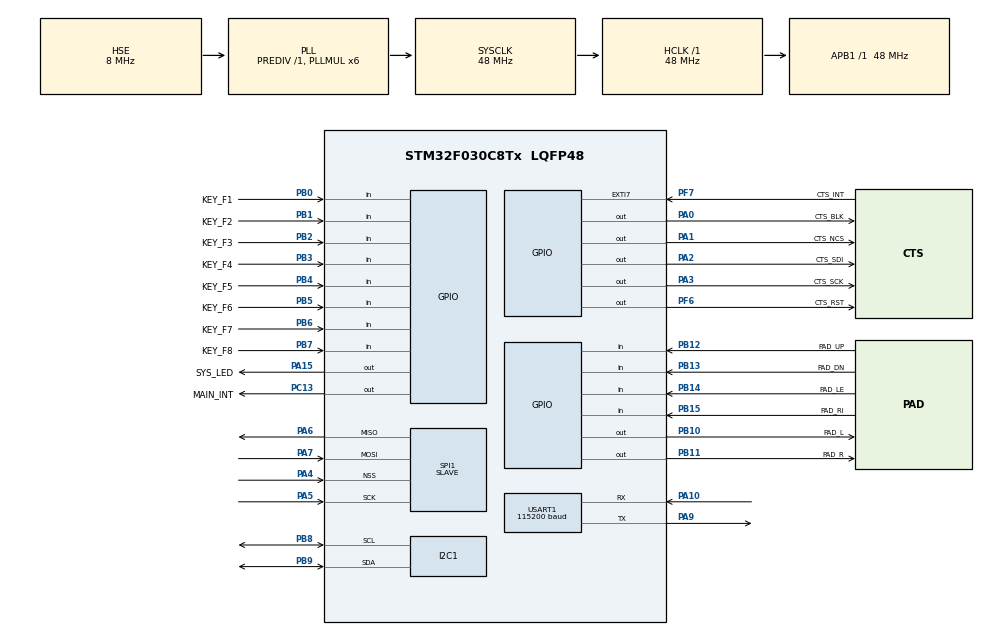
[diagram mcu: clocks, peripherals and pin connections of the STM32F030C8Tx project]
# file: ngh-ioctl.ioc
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I2C1.Timing=0x20303E5D
Mcu.Family=STM32F0
Mcu.Name=STM32F030C8Tx
Mcu.Package=LQFP48
NVIC.SPI1_IRQn=true\:1\:0\:true\:false\:true\:true
NVIC.TIM6_IRQn=true\:0\:0\:false\:false\:true\:true
PA0.GPIO_Label=CTS_BLK
PA0.GPIO_Speed=GPIO_SPEED_FREQ_HIGH
PA0.PinState=GPIO_PIN_SET
PA0.Signal=GPIO_Output
PA1.GPIO_Label=CTS_NCS
PA1.GPIO_Speed=GPIO_SPEED_FREQ_HIGH
PA1.PinState=GPIO_PIN_SET
PA1.Signal=GPIO_Output
PA10.Mode=Multiprocessor_communication
PA10.Signal=USART1_RX
PA13.Mode=Serial_Wire
PA13.Signal=SYS_SWDIO
PA14.Mode=Serial_Wire
PA14.Signal=SYS_SWCLK
PA15.GPIO_Label=SYS_LED
PA15.GPIO_Speed=GPIO_SPEED_FREQ_HIGH
PA15.Signal=GPIO_Output
PA2.GPIO_Label=CTS_SDI
PA2.GPIO_ModeDefaultOutputPP=GPIO_MODE_OUTPUT_PP
PA2.GPIO_PuPd=GPIO_NOPULL
PA2.GPIO_Speed=GPIO_SPEED_FREQ_HIGH
PA2.PinState=GPIO_PIN_SET
PA2.Signal=GPIO_Output
PA3.GPIO_Label=CTS_SCK
PA3.GPIO_PuPd=GPIO_NOPULL
PA3.GPIO_Speed=GPIO_SPEED_FREQ_HIGH
PA3.PinState=GPIO_PIN_SET
PA3.Signal=GPIO_Output
PA4.Mode=NSS_Signal_Hard_Input
PA4.Signal=SPI1_NSS
PA5.Mode=Full_Duplex_Slave
PA5.Signal=SPI1_SCK
PA6.Mode=Full_Duplex_Slave
PA6.Signal=SPI1_MISO
PA7.Mode=Full_Duplex_Slave
PA7.Signal=SPI1_MOSI
PA9.Mode=Multiprocessor_communication
PA9.Signal=USART1_TX
PB0.GPIO_Label=KEY_F1
PB0.GPIO_PuPd=GPIO_PULLUP
PB0.Signal=GPIO_Input
PB1.GPIO_Label=KEY_F2
PB1.GPIO_PuPd=GPIO_PULLUP
PB1.Signal=GPIO_Input
PB10.GPIO_Label=PAD_L
PB10.GPIO_Speed=GPIO_SPEED_FREQ_HIGH
PB10.PinState=GPIO_PIN_SET
PB10.Signal=GPIO_Output
PB11.GPIO_Label=PAD_R
PB11.GPIO_Speed=GPIO_SPEED_FREQ_HIGH
PB11.PinState=GPIO_PIN_SET
PB11.Signal=GPIO_Output
PB12.GPIO_Label=PAD_UP
PB12.GPIO_PuPd=GPIO_PULLUP
PB12.Signal=GPIO_Input
PB13.GPIO_Label=PAD_DN
PB13.GPIO_PuPd=GPIO_PULLUP
PB13.Signal=GPIO_Input
PB14.GPIO_Label=PAD_LE
PB14.GPIO_PuPd=GPIO_PULLUP
PB14.Signal=GPIO_Input
PB15.GPIO_Label=PAD_RI
PB15.GPIO_PuPd=GPIO_PULLUP
PB15.Signal=GPIO_Input
PB2.GPIO_Label=KEY_F3
PB2.GPIO_PuPd=GPIO_PULLUP
PB2.Signal=GPIO_Input
PB3.GPIO_Label=KEY_F4
PB3.GPIO_PuPd=GPIO_PULLUP
PB3.Signal=GPIO_Input
PB4.GPIO_Label=KEY_F5
PB4.GPIO_PuPd=GPIO_PULLUP
PB4.Signal=GPIO_Input
PB5.GPIO_Label=KEY_F6
PB5.GPIO_PuPd=GPIO_PULLUP
PB5.Signal=GPIO_Input
PB6.GPIO_Label=KEY_F7
PB6.GPIO_PuPd=GPIO_PULLUP
PB6.Signal=GPIO_Input
PB7.GPIO_Label=KEY_F8
PB7.GPIO_PuPd=GPIO_PULLUP
PB7.Signal=GPIO_Input
PB8.Mode=I2C
PB8.Signal=I2C1_SCL
PB9.Mode=I2C
PB9.Signal=I2C1_SDA
PC13.GPIO_Label=MAIN_INT
PC13.GPIO_Speed=GPIO_SPEED_FREQ_LOW
PC13.PinState=GPIO_PIN_SET
PC13.Signal=GPIO_Output
PF0-OSC_IN.Mode=HSE-External-Oscillator
PF0-OSC_IN.Signal=RCC_OSC_IN
PF1-OSC_OUT.Mode=HSE-External-Oscillator
PF1-OSC_OUT.Signal=RCC_OSC_OUT
PF6.GPIO_Label=CTS_RST
PF6.GPIO_Speed=GPIO_SPEED_FREQ_HIGH
PF6.PinState=GPIO_PIN_SET
PF6.Signal=GPIO_Output
PF7.GPIO_Label=CTS_INT
PF7.GPIO_PuPd=GPIO_PULLUP
PF7.Signal=GPXTI7
ProjectManager.HeapSize=0x200
ProjectManager.StackSize=0x400
ProjectManager.TargetToolchain=SW4STM32
RCC.AHBFreq_Value=48000000
RCC.APB1Freq_Value=48000000
RCC.APB1TimFreq_Value=48000000
RCC.HCLKFreq_Value=48000000
RCC.I2c1ClockSelection=RCC_I2C1CLKSOURCE_SYSCLK
RCC.PLLMUL=RCC_PLL_MUL6
RCC.PLLSourceVirtual=RCC_PLLSOURCE_HSE
RCC.SYSCLKFreq_VALUE=48000000
RCC.SYSCLKSource=RCC_SYSCLKSOURCE_PLLCLK
SPI1.DataSize=SPI_DATASIZE_8BIT
SPI1.Direction=SPI_DIRECTION_2LINES
SPI1.Mode=SPI_MODE_SLAVE
SPI1.VirtualNSS=VM_NSSHARD
SPI1.VirtualType=VM_SLAVE
TIM6.Period=99
TIM6.Prescaler=48
USART1.BaudRate=115200
USART1.VirtualMode-Multiprocessor_communication=VM_ASYNC
VP_TIM6_VS_ClockSourceINT.Mode=Enable_Timer
board=custom

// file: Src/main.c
/* USER CODE BEGIN Header */
/**
  ******************************************************************************
  * @file           : main.c
  * @brief          : Main program body
  ******************************************************************************
  ** This notice applies to any and all portions of this file
  * that are not between comment pairs USER CODE BEGIN and
  * USER CODE END. Other portions of this file, whether
  * inserted by the user or by software development tools
  * are owned by their respective copyright owners.
  *
  * COPYRIGHT(c) 2018 STMicroelectronics
  *
  * Redistribution and use in source and binary forms, with or without modification,
  * are permitted provided that the following conditions are met:
  *   1. Redistributions of source code must retain the above copyright notice,
  *      this list of conditions and the following disclaimer.
  *   2. Redistributions in binary form must reproduce the above copyright notice,
  *      this list of conditions and the following disclaimer in the documentation
  *      and/or other materials provided with the distribution.
  *   3. Neither the name of STMicroelectronics nor the names of its contributors
  *      may be used to endorse or promote products derived from this software
  *      without specific prior written permission.
  *
  * THIS SOFTWARE IS PROVIDED BY THE COPYRIGHT HOLDERS AND CONTRIBUTORS "AS IS"
  * AND ANY EXPRESS OR IMPLIED WARRANTIES, INCLUDING, BUT NOT LIMITED TO, THE
  * IMPLIED WARRANTIES OF MERCHANTABILITY AND FITNESS FOR A PARTICULAR PURPOSE ARE
  * DISCLAIMED. IN NO EVENT SHALL THE COPYRIGHT HOLDER OR CONTRIBUTORS BE LIABLE
  * FOR ANY DIRECT, INDIRECT, INCIDENTAL, SPECIAL, EXEMPLARY, OR CONSEQUENTIAL
  * DAMAGES (INCLUDING, BUT NOT LIMITED TO, PROCUREMENT OF SUBSTITUTE GOODS OR
  * SERVICES; LOSS OF USE, DATA, OR PROFITS; OR BUSINESS INTERRUPTION) HOWEVER
  * CAUSED AND ON ANY THEORY OF LIABILITY, WHETHER IN CONTRACT, STRICT LIABILITY,
  * OR TORT (INCLUDING NEGLIGENCE OR OTHERWISE) ARISING IN ANY WAY OUT OF THE USE
  * OF THIS SOFTWARE, EVEN IF ADVISED OF THE POSSIBILITY OF SUCH DAMAGE.
  *
  ******************************************************************************
  */
/* USER CODE END Header */

#include "main.h"

/* USER CODE BEGIN Includes */
#include "lcd.h"
/* USER CODE END Includes */

I2C_HandleTypeDef hi2c1;

SPI_HandleTypeDef hspi1;

TIM_HandleTypeDef htim6;

UART_HandleTypeDef huart1;

void SystemClock_Config(void);
static void MX_GPIO_Init(void);
static void MX_TIM6_Init(void);
static void MX_I2C1_Init(void);
static void MX_SPI1_Init(void);
static void MX_USART1_UART_Init(void);

/* USER CODE BEGIN 0 */
volatile uint32_t _cnt = 0, _max = 5000;
void TIM6_IRQ_Callback() {
	if (_cnt < _max) _cnt += 1;
	else {
		_cnt = 0;
		HAL_GPIO_TogglePin(SYS_LED_GPIO_Port, SYS_LED_Pin);
	}
}
/* USER CODE END 0 */

int main(void)
{

  /* MCU Configuration--------------------------------------------------------*/

  /* Reset of all peripherals, Initializes the Flash interface and the Systick. */
  HAL_Init();

  /* Configure the system clock */
  SystemClock_Config();

  /* Initialize all configured peripherals */
  MX_GPIO_Init();
  MX_TIM6_Init();
  MX_I2C1_Init();
  MX_SPI1_Init();
  MX_USART1_UART_Init();
  /* USER CODE BEGIN 2 */
  HAL_TIM_Base_Start_IT(&htim6);
  HAL_GPIO_WritePin(CTS_BLK_GPIO_Port, CTS_BLK_Pin, GPIO_PIN_SET);
  HAL_Delay(50);
  HAL_GPIO_WritePin(CTS_BLK_GPIO_Port, CTS_BLK_Pin, GPIO_PIN_RESET);
  HAL_Delay(50);
  HAL_GPIO_WritePin(CTS_BLK_GPIO_Port, CTS_BLK_Pin, GPIO_PIN_SET);
  HAL_Delay(500);
  LCDInit();
  HAL_Delay(50);
  /* USER CODE END 2 */

  /* Infinite loop */
  while (1)
  {

  }
}

void SystemClock_Config(void)
{
  RCC_OscInitTypeDef RCC_OscInitStruct = {0};
  RCC_ClkInitTypeDef RCC_ClkInitStruct = {0};
  RCC_PeriphCLKInitTypeDef PeriphClkInit = {0};

  /**Initializes the CPU, AHB and APB busses clocks
  */
  RCC_OscInitStruct.OscillatorType = RCC_OSCILLATORTYPE_HSE;
  RCC_OscInitStruct.HSEState = RCC_HSE_ON;
  RCC_OscInitStruct.PLL.PLLState = RCC_PLL_ON;
  RCC_OscInitStruct.PLL.PLLSource = RCC_PLLSOURCE_HSE;
  RCC_OscInitStruct.PLL.PLLMUL = RCC_PLL_MUL6;
  RCC_OscInitStruct.PLL.PREDIV = RCC_PREDIV_DIV1;
  if (HAL_RCC_OscConfig(&RCC_OscInitStruct) != HAL_OK)
  {
    Error_Handler();
  }
  /**Initializes the CPU, AHB and APB busses clocks
  */
  RCC_ClkInitStruct.ClockType = RCC_CLOCKTYPE_HCLK|RCC_CLOCKTYPE_SYSCLK
                              |RCC_CLOCKTYPE_PCLK1;
  RCC_ClkInitStruct.SYSCLKSource = RCC_SYSCLKSOURCE_PLLCLK;
  RCC_ClkInitStruct.AHBCLKDivider = RCC_SYSCLK_DIV1;
  RCC_ClkInitStruct.APB1CLKDivider = RCC_HCLK_DIV1;

  if (HAL_RCC_ClockConfig(&RCC_ClkInitStruct, FLASH_LATENCY_1) != HAL_OK)
  {
    Error_Handler();
  }
  PeriphClkInit.PeriphClockSelection = RCC_PERIPHCLK_USART1|RCC_PERIPHCLK_I2C1;
  PeriphClkInit.Usart1ClockSelection = RCC_USART1CLKSOURCE_PCLK1;
  PeriphClkInit.I2c1ClockSelection = RCC_I2C1CLKSOURCE_SYSCLK;
  if (HAL_RCCEx_PeriphCLKConfig(&PeriphClkInit) != HAL_OK)
  {
    Error_Handler();
  }
}

static void MX_I2C1_Init(void)
{

  hi2c1.Instance = I2C1;
  hi2c1.Init.Timing = 0x20303E5D;
  hi2c1.Init.OwnAddress1 = 0;
  hi2c1.Init.AddressingMode = I2C_ADDRESSINGMODE_7BIT;
  hi2c1.Init.DualAddressMode = I2C_DUALADDRESS_DISABLE;
  hi2c1.Init.OwnAddress2 = 0;
  hi2c1.Init.OwnAddress2Masks = I2C_OA2_NOMASK;
  hi2c1.Init.GeneralCallMode = I2C_GENERALCALL_DISABLE;
  hi2c1.Init.NoStretchMode = I2C_NOSTRETCH_DISABLE;
  if (HAL_I2C_Init(&hi2c1) != HAL_OK)
  {
    Error_Handler();
  }
  /**Configure Analogue filter
  */
  if (HAL_I2CEx_ConfigAnalogFilter(&hi2c1, I2C_ANALOGFILTER_ENABLE) != HAL_OK)
  {
    Error_Handler();
  }
  /**Configure Digital filter
  */
  if (HAL_I2CEx_ConfigDigitalFilter(&hi2c1, 0) != HAL_OK)
  {
    Error_Handler();
  }

}

static void MX_SPI1_Init(void)
{

  /* SPI1 parameter configuration*/
  hspi1.Instance = SPI1;
  hspi1.Init.Mode = SPI_MODE_SLAVE;
  hspi1.Init.Direction = SPI_DIRECTION_2LINES;
  hspi1.Init.DataSize = SPI_DATASIZE_8BIT;
  hspi1.Init.CLKPolarity = SPI_POLARITY_LOW;
  hspi1.Init.CLKPhase = SPI_PHASE_1EDGE;
  hspi1.Init.NSS = SPI_NSS_HARD_INPUT;
  hspi1.Init.FirstBit = SPI_FIRSTBIT_MSB;
  hspi1.Init.TIMode = SPI_TIMODE_DISABLE;
  hspi1.Init.CRCCalculation = SPI_CRCCALCULATION_DISABLE;
  hspi1.Init.CRCPolynomial = 7;
  hspi1.Init.CRCLength = SPI_CRC_LENGTH_DATASIZE;
  hspi1.Init.NSSPMode = SPI_NSS_PULSE_DISABLE;
  if (HAL_SPI_Init(&hspi1) != HAL_OK)
  {
    Error_Handler();
  }

}

static void MX_TIM6_Init(void)
{

  htim6.Instance = TIM6;
  htim6.Init.Prescaler = 48;
  htim6.Init.CounterMode = TIM_COUNTERMODE_UP;
  htim6.Init.Period = 99;
  htim6.Init.AutoReloadPreload = TIM_AUTORELOAD_PRELOAD_DISABLE;
  if (HAL_TIM_Base_Init(&htim6) != HAL_OK)
  {
    Error_Handler();
  }

}

static void MX_USART1_UART_Init(void)
{

  huart1.Instance = USART1;
  huart1.Init.BaudRate = 115200;
  huart1.Init.WordLength = UART_WORDLENGTH_8B;
  huart1.Init.StopBits = UART_STOPBITS_1;
  huart1.Init.Parity = UART_PARITY_NONE;
  huart1.Init.Mode = UART_MODE_TX_RX;
  huart1.Init.HwFlowCtl = UART_HWCONTROL_NONE;
  huart1.Init.OverSampling = UART_OVERSAMPLING_16;
  huart1.Init.OneBitSampling = UART_ONE_BIT_SAMPLE_DISABLE;
  huart1.AdvancedInit.AdvFeatureInit = UART_ADVFEATURE_NO_INIT;
  if (HAL_MultiProcessor_Init(&huart1, 0, UART_WAKEUPMETHOD_IDLELINE) != HAL_OK)
  {
    Error_Handler();
  }

}

static void MX_GPIO_Init(void)
{
  GPIO_InitTypeDef GPIO_InitStruct = {0};

  /* GPIO Ports Clock Enable */
  __HAL_RCC_GPIOC_CLK_ENABLE();
  __HAL_RCC_GPIOF_CLK_ENABLE();
  __HAL_RCC_GPIOA_CLK_ENABLE();
  __HAL_RCC_GPIOB_CLK_ENABLE();

  /*Configure GPIO pin Output Level */
  HAL_GPIO_WritePin(MAIN_INT_GPIO_Port, MAIN_INT_Pin, GPIO_PIN_SET);

  /*Configure GPIO pin Output Level */
  HAL_GPIO_WritePin(GPIOA, CTS_BLK_Pin|CTS_NCS_Pin|CTS_SDI_Pin|CTS_SCK_Pin, GPIO_PIN_SET);

  /*Configure GPIO pin Output Level */
  HAL_GPIO_WritePin(GPIOB, PAD_L_Pin|PAD_R_Pin, GPIO_PIN_SET);

  /*Configure GPIO pin Output Level */
  HAL_GPIO_WritePin(CTS_RST_GPIO_Port, CTS_RST_Pin, GPIO_PIN_SET);

  /*Configure GPIO pin Output Level */
  HAL_GPIO_WritePin(SYS_LED_GPIO_Port, SYS_LED_Pin, GPIO_PIN_RESET);

  /*Configure GPIO pin : MAIN_INT_Pin */
  GPIO_InitStruct.Pin = MAIN_INT_Pin;
  GPIO_InitStruct.Mode = GPIO_MODE_OUTPUT_PP;
  GPIO_InitStruct.Pull = GPIO_NOPULL;
  GPIO_InitStruct.Speed = GPIO_SPEED_FREQ_LOW;
  HAL_GPIO_Init(MAIN_INT_GPIO_Port, &GPIO_InitStruct);

  /*Configure GPIO pins : CTS_BLK_Pin CTS_NCS_Pin CTS_SDI_Pin CTS_SCK_Pin
                           SYS_LED_Pin */
  GPIO_InitStruct.Pin = CTS_BLK_Pin|CTS_NCS_Pin|CTS_SDI_Pin|CTS_SCK_Pin
                          |SYS_LED_Pin;
  GPIO_InitStruct.Mode = GPIO_MODE_OUTPUT_PP;
  GPIO_InitStruct.Pull = GPIO_NOPULL;
  GPIO_InitStruct.Speed = GPIO_SPEED_FREQ_HIGH;
  HAL_GPIO_Init(GPIOA, &GPIO_InitStruct);

  /*Configure GPIO pins : KEY_F1_Pin KEY_F2_Pin KEY_F3_Pin PAD_UP_Pin
                           PAD_DN_Pin PAD_LE_Pin PAD_RI_Pin KEY_F4_Pin
                           KEY_F5_Pin KEY_F6_Pin KEY_F7_Pin KEY_F8_Pin */
  GPIO_InitStruct.Pin = KEY_F1_Pin|KEY_F2_Pin|KEY_F3_Pin|PAD_UP_Pin
                          |PAD_DN_Pin|PAD_LE_Pin|PAD_RI_Pin|KEY_F4_Pin
                          |KEY_F5_Pin|KEY_F6_Pin|KEY_F7_Pin|KEY_F8_Pin;
  GPIO_InitStruct.Mode = GPIO_MODE_INPUT;
  GPIO_InitStruct.Pull = GPIO_PULLUP;
  HAL_GPIO_Init(GPIOB, &GPIO_InitStruct);

  /*Configure GPIO pins : PAD_L_Pin PAD_R_Pin */
  GPIO_InitStruct.Pin = PAD_L_Pin|PAD_R_Pin;
  GPIO_InitStruct.Mode = GPIO_MODE_OUTPUT_PP;
  GPIO_InitStruct.Pull = GPIO_NOPULL;
  GPIO_InitStruct.Speed = GPIO_SPEED_FREQ_HIGH;
  HAL_GPIO_Init(GPIOB, &GPIO_InitStruct);

  /*Configure GPIO pin : CTS_RST_Pin */
  GPIO_InitStruct.Pin = CTS_RST_Pin;
  GPIO_InitStruct.Mode = GPIO_MODE_OUTPUT_PP;
  GPIO_InitStruct.Pull = GPIO_NOPULL;
  GPIO_InitStruct.Speed = GPIO_SPEED_FREQ_HIGH;
  HAL_GPIO_Init(CTS_RST_GPIO_Port, &GPIO_InitStruct);

  /*Configure GPIO pin : CTS_INT_Pin */
  GPIO_InitStruct.Pin = CTS_INT_Pin;
  GPIO_InitStruct.Mode = GPIO_MODE_IT_RISING;
  GPIO_InitStruct.Pull = GPIO_PULLUP;
  HAL_GPIO_Init(CTS_INT_GPIO_Port, &GPIO_InitStruct);

}

void Error_Handler(void)
{
}

/************************ (C) COPYRIGHT STMicroelectronics *****END OF FILE****/
